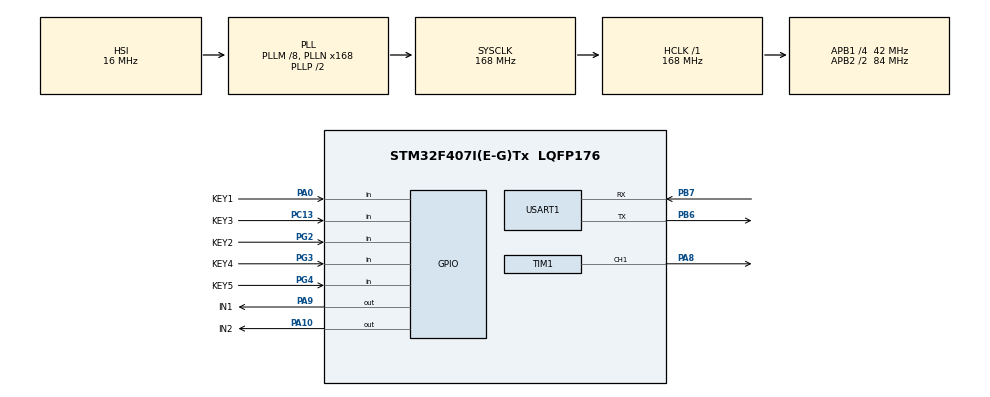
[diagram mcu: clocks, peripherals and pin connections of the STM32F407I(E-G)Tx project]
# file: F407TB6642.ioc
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Mcu.Family=STM32F4
Mcu.Name=STM32F407I(E-G)Tx
Mcu.Package=LQFP176
NVIC.PriorityGroup=NVIC_PRIORITYGROUP_4
PA0-WKUP.GPIO_Label=KEY1
PA0-WKUP.Signal=GPIO_Input
PA10.GPIO_Label=IN2
PA10.Signal=GPIO_Output
PA13.Mode=Serial_Wire
PA13.Signal=SYS_JTMS-SWDIO
PA14.Mode=Serial_Wire
PA14.Signal=SYS_JTCK-SWCLK
PA8.Signal=S_TIM1_CH1
PA9.GPIO_Label=IN1
PA9.Signal=GPIO_Output
PB6.Mode=Asynchronous
PB6.Signal=USART1_TX
PB7.Mode=Asynchronous
PB7.Signal=USART1_RX
PC13-ANTI_TAMP.GPIO_Label=KEY3
PC13-ANTI_TAMP.Signal=GPIO_Input
PG2.GPIO_Label=KEY2
PG2.Signal=GPIO_Input
PG3.GPIO_Label=KEY4
PG3.Signal=GPIO_Input
PG4.GPIO_Label=KEY5
PG4.Signal=GPIO_Input
PH0-OSC_IN.Mode=HSE-External-Oscillator
PH0-OSC_IN.Signal=RCC_OSC_IN
PH1-OSC_OUT.Mode=HSE-External-Oscillator
PH1-OSC_OUT.Signal=RCC_OSC_OUT
ProjectManager.HeapSize=0x200
ProjectManager.StackSize=0x400
ProjectManager.TargetToolchain=MDK-ARM V5.32
RCC.48MHZClocksFreq_Value=84000000
RCC.AHBFreq_Value=168000000
RCC.APB1CLKDivider=RCC_HCLK_DIV4
RCC.APB1Freq_Value=42000000
RCC.APB1TimFreq_Value=84000000
RCC.APB2CLKDivider=RCC_HCLK_DIV2
RCC.APB2Freq_Value=84000000
RCC.APB2TimFreq_Value=168000000
RCC.CortexFreq_Value=168000000
RCC.HCLKFreq_Value=168000000
RCC.HSE_VALUE=25000000
RCC.HSI_VALUE=16000000
RCC.LSE_VALUE=32768
RCC.PLLM=8
RCC.PLLN=168
RCC.SYSCLKFreq_VALUE=168000000
RCC.SYSCLKSource=RCC_SYSCLKSOURCE_PLLCLK
RCC.VCOOutputFreq_Value=336000000
SH.S_TIM1_CH1.0=TIM1_CH1,PWM Generation1 CH1
TIM1.Channel-PWM\ Generation1\ CH1=TIM_CHANNEL_1
USART1.VirtualMode=VM_ASYNC
VP_TIM1_VS_ClockSourceINT.Mode=Internal
board=custom

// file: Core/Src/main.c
/* USER CODE BEGIN Header */
/**
  ******************************************************************************
  * @file           : main.c
  * @brief          : Main program body
  ******************************************************************************
  * @attention
  *
  * Copyright (c) 2023 STMicroelectronics.
  * All rights reserved.
  *
  * This software is licensed under terms that can be found in the LICENSE file
  * in the root directory of this software component.
  * If no LICENSE file comes with this software, it is provided AS-IS.
  *
  ******************************************************************************
  */
/* USER CODE END Header */
#include "main.h"
#include "tim.h"
#include "usart.h"
#include "gpio.h"

/* USER CODE BEGIN Includes */
#include "motor.h"
/* USER CODE END Includes */

void SystemClock_Config(void);

int main(void)
{
  /* USER CODE BEGIN 1 */
uint16_t Speed = 1000/10;
uint8_t i = 0;
  /* USER CODE END 1 */

  /* MCU Configuration--------------------------------------------------------*/

  /* Reset of all peripherals, Initializes the Flash interface and the Systick. */
  HAL_Init();

  /* Configure the system clock */
  SystemClock_Config();

  /* Initialize all configured peripherals */
  MX_GPIO_Init();
  MX_TIM1_Init();
  MX_USART1_UART_Init();
  /* USER CODE BEGIN 2 */

//  TB6642_setSpeed(500 ); //50.0%
//  TB6643_setMotorDir(MOTOR_DIR_CCW);
//  TB6643_setMotorEna(MOTOR_ENABLE);

  /* USER CODE END 2 */

  /* Infinite loop */
  while (1)
  {

    /* USER CODE BEGIN 3 */
	   //启动电机设置占空比10%
	if(Key_Scan(KEY1_GPIO_Port,KEY1_Pin) == KEY_ON)
	{
	  TB6642_setSpeed(1000/10);
	  TB6643_setMotorDir(MOTOR_DIR_CCW);
      TB6643_setMotorEna(MOTOR_ENABLE);

	}

	//增大占空比
	if( Key_Scan(KEY2_GPIO_Port,KEY2_Pin) == KEY_ON)
	{
		 Speed += 100;

      if(Speed > 1000)
        Speed = 1000;

	  //设置电机速度
      TB6642_setSpeed(Speed);
	}

	//减小占空比
	if( Key_Scan(KEY3_GPIO_Port,KEY3_Pin) == KEY_ON)
	{
		 if(Speed < 1000/10)
        Speed = 0;
      else
        Speed -= 100;

      //设置电机速度
      TB6642_setSpeed(Speed);
	}

	//控制电机方向
	if( Key_Scan(KEY4_GPIO_Port,KEY4_Pin) == KEY_ON)
	{
	  //i是奇数是反转运行，i是偶数是正转运行
      TB6643_setMotorDir( (++i % 2) ? MOTOR_DIR_CCW : MOTOR_DIR_CW);
	}

	//停止电机
	if( Key_Scan(KEY5_GPIO_Port,KEY5_Pin) == KEY_ON)
	{
		TB6642_breakTostop();
	}
  }
  /* USER CODE END 3 */
}

void SystemClock_Config(void)
{
  RCC_OscInitTypeDef RCC_OscInitStruct = {0};
  RCC_ClkInitTypeDef RCC_ClkInitStruct = {0};

  /** Configure the main internal regulator output voltage
  */
  __HAL_RCC_PWR_CLK_ENABLE();
  __HAL_PWR_VOLTAGESCALING_CONFIG(PWR_REGULATOR_VOLTAGE_SCALE1);

  /** Initializes the RCC Oscillators according to the specified parameters
  * in the RCC_OscInitTypeDef structure.
  */
  RCC_OscInitStruct.OscillatorType = RCC_OSCILLATORTYPE_HSI;
  RCC_OscInitStruct.HSIState = RCC_HSI_ON;
  RCC_OscInitStruct.HSICalibrationValue = RCC_HSICALIBRATION_DEFAULT;
  RCC_OscInitStruct.PLL.PLLState = RCC_PLL_ON;
  RCC_OscInitStruct.PLL.PLLSource = RCC_PLLSOURCE_HSI;
  RCC_OscInitStruct.PLL.PLLM = 8;
  RCC_OscInitStruct.PLL.PLLN = 168;
  RCC_OscInitStruct.PLL.PLLP = RCC_PLLP_DIV2;
  RCC_OscInitStruct.PLL.PLLQ = 4;
  if (HAL_RCC_OscConfig(&RCC_OscInitStruct) != HAL_OK)
  {
    Error_Handler();
  }

  /** Initializes the CPU, AHB and APB buses clocks
  */
  RCC_ClkInitStruct.ClockType = RCC_CLOCKTYPE_HCLK|RCC_CLOCKTYPE_SYSCLK
                              |RCC_CLOCKTYPE_PCLK1|RCC_CLOCKTYPE_PCLK2;
  RCC_ClkInitStruct.SYSCLKSource = RCC_SYSCLKSOURCE_PLLCLK;
  RCC_ClkInitStruct.AHBCLKDivider = RCC_SYSCLK_DIV1;
  RCC_ClkInitStruct.APB1CLKDivider = RCC_HCLK_DIV4;
  RCC_ClkInitStruct.APB2CLKDivider = RCC_HCLK_DIV2;

  if (HAL_RCC_ClockConfig(&RCC_ClkInitStruct, FLASH_LATENCY_5) != HAL_OK)
  {
    Error_Handler();
  }
}

void Error_Handler(void)
{
  __disable_irq();
  while (1)
  {
  }
}
